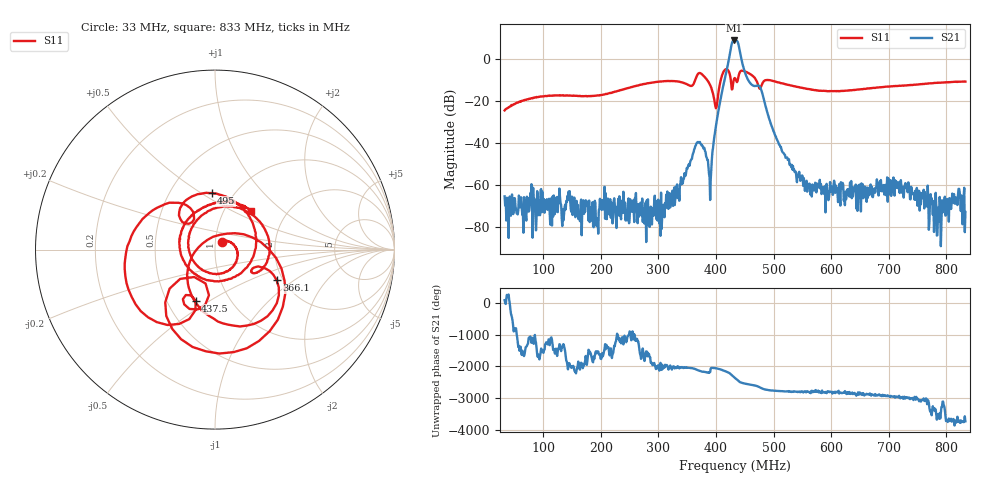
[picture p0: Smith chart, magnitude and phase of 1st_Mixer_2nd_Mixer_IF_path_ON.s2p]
# HZ S RI R 50
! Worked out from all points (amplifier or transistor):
!   808 points, 33 MHz to 833 MHz, reference 50 ohm
!   highest |S21| = 9.0 dB at 431.5 MHz (marker M1)
!   |S21| within 3 dB of that: 426.3 MHz to 439.9 MHz (13.63 MHz wide, 3.15 % of centre)
!   S11 on the Smith chart (normalised r, x): 33 MHz: 1.08, +0.10; 366.1 MHz: 1.85, -0.75; 437.5 MHz: 0.69, -0.44; 495 MHz: 0.79, +0.55; 833 MHz: 1.34, +0.63
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3.3e7  0.0412 0.0448  6.01e-05 0.000545  0 0  0 0
1.66829e8  -0.0421 -0.1255  -5.85e-05 -2.86e-05  0 0  0 0
2.996667e8  0.2441 0.1614  -0.000444 -0.000117  0 0  0 0
3.323805e8  0.2907 -0.062  -0.000835 0.000646  0 0  0 0
3.660855e8  0.3438 -0.1715  0.00516 0.00852  0 0  0 0
3.908687e8  -0.1531 -0.1655  -0.000154 0.0014  0 0  0 0
4.007819e8  -0.0109 0.0715  -0.00336 0.0308  0 0  0 0
4.136692e8  0.3499 -0.3911  0.2467 0.119  0 0  0 0
4.215998e8  -0.189 -0.4992  0.7218 -0.4992  0 0  0 0
4.265564e8  -0.194 -0.1631  -0.2708 -2.062  0 0  0 0
4.315131e8  -0.0964 -0.333  -2.81 0.1416  0 0  0 0
4.334957e8  -0.1714 -0.3052  -2.36 1.522  0 0  0 0
4.37461e8  -0.1078 -0.2858  0.229 2.621  0 0  0 0
4.424176e8  -0.3239 -0.4043  1.267 0.4074  0 0  0 0
4.493569e8  -0.4996 -0.1468  0.5019 -0.1794  0 0  0 0
4.761227e8  -0.1277 0.1522  -0.174 -0.1389  0 0  0 0
4.949579e8  -0.0189 0.3151  -0.0171 0.0243  0 0  0 0
5.663334e8  0.1218 -0.1434  -0.000222 0.000497  0 0  0 0
7.001624e8  -0.1522 0.1658  0.000452 -0.000664  0 0  0 0
7.873991e8  0.0827 0.2671  9.6e-05 -9.55e-05  0 0  0 0
8.201128e8  0.1724 0.2365  -0.000484 -0.000316  0 0  0 0
8.330001e8  0.2021 0.2154  -0.000146 -0.000181  0 0  0 0
